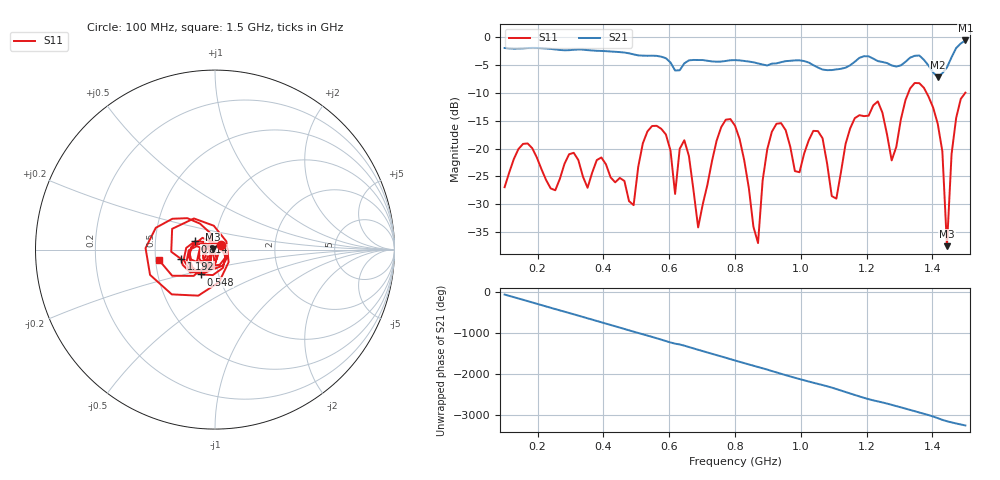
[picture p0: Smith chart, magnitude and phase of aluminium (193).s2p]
! NanoVNA-App
! Date: 2025-09-25 14:56:47
! Start: 100MHz Stop: 1,5GHz Points: 101
! S-Parameter data: F S11 S21 S12 S22
# Hz S RI R 50
!  Frequency  S11_Real  S11_Imag  S21_Real  S21_Imag  S12_Real  S12_Imag  S22_Real  S22_Imag
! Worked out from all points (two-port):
!   101 points, 100 MHz to 1.5 GHz, reference 50 ohm
!   highest |S21| = -0.56 dB at 1.5 GHz (marker M1); lowest = -7.2 dB at 1.416 GHz (marker M2)
!   |S21| within 3 dB of the highest: start of sweep to 580.2 MHz; 1.458 GHz to end of sweep (the widest 2 of 4)
!   lowest |S11| = -37.6 dB at 1.444 GHz (marker M3), VSWR 1.03, Z = 48.7 + j0.349 ohm
!   |S11| at or under -10 dB: start of sweep to 1.327 GHz; 1.382 GHz to 1.499 GHz (117.3 MHz wide, 8.14 % of centre)
!   S12 and S22 are empty: the file has one direction only
!   S11 on the Smith chart (normalised r, x): 100 MHz: 1.07, +0.06; 548 MHz: 0.82, -0.23; 814 MHz: 0.79, +0.07; 1.192 GHz: 0.68, -0.07; 1.5 GHz: 0.52, -0.07
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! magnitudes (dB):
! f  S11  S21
! 100 MHz  -27.0  -1.9
! 338 MHz  -25.1  -2.2
! 492 MHz  -30.2  -3.1
! 548 MHz  -16.0  -3.3
! 576 MHz  -16.5  -3.5
! 618 MHz  -28.2  -6.0
! 646 MHz  -18.5  -4.7
! 688 MHz  -34.2  -4.1
! 800 MHz  -15.9  -4.1
! 814 MHz  -18.3  -4.1
! 870 MHz  -37.0  -4.7
! 912 MHz  -17.0  -4.7
! 996 MHz  -24.3  -4.1
! 1.038 GHz  -16.8  -5.0
! 1.108 GHz  -29.0  -5.8
! 1.192 GHz  -14.2  -3.4
! 1.276 GHz  -22.1  -5.1
! 1.346 GHz  -8.2  -3.3
! 1.416 GHz  -15.6  -7.2
! 1.444 GHz  -37.6  -5.4
! 1.458 GHz  -21.0  -3.6
! 1.5 GHz  -10.0  -0.6
